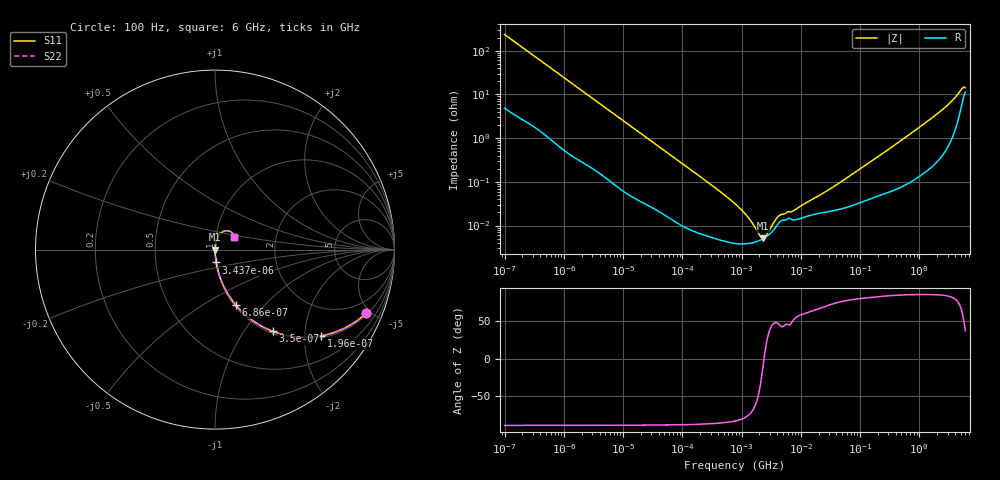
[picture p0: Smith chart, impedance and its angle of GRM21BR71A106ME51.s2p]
!Murata Part Number: GRM21BR71A106ME51
!These Parameters are Measured in Series Mode Connection
!Data Generated on Mar 30, 2021
!  o--ll--o
!Port1  Port2
!  o------o
!Operation Temp=25[degC], DC Bias Voltage=0[V]
!Freq. Start=100[Hz] Stop=6[GHz] 401[Steps]
# Hz S RI R 50
!Freq.(Hz) S11(Real) S11(Imag) S21(Real) S21(Imag) S12(Real) S12(Imag) S22(Real) S22(Imag)
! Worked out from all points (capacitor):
!   401 points, 100 Hz to 6 GHz, reference 50 ohm
!   read as one part in series: C = 6.74 uF near 109 Hz
!   lowest |Z| = 5.06 mohm at 2.269 MHz (marker M1)
!   series resonance near 2.391 MHz, so ESL is about 660 pH
!   S11 on the Smith chart (normalised r, x): 100 Hz: 1.10, -4.71; 196 Hz: 1.05, -2.42; 350 Hz: 1.03, -1.37; 686 Hz: 1.02, -0.71; 3.437 kHz: 1.00, -0.14; 6 GHz: 1.22, +0.17
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100  0.842 -0.3545  0.158 0.3545  0.158 0.3545  0.842 -0.3545
196  0.5929 -0.4803  0.4071 0.4803  0.4071 0.4803  0.5929 -0.4803
350  0.3225 -0.4556  0.6775 0.4556  0.6775 0.4556  0.3225 -0.4556
686  0.1163 -0.3096  0.8837 0.3096  0.8837 0.3096  0.1163 -0.3096
2008  0.0174 -0.1197  0.9826 0.1197  0.9826 0.1197  0.0174 -0.1197
3437  0.00693 -0.0714  0.9931 0.0714  0.9931 0.0714  0.00693 -0.0714
40335  0.000249 -0.00637  0.9998 0.00637  0.9998 0.00637  0.000249 -0.00637
345986  5.16e-05 -0.000756  0.9999 0.000756  0.9999 0.000756  5.16e-05 -0.000756
774597  3.9e-05 -0.000313  1 0.000313  1 0.000313  3.9e-05 -0.000313
1108252  3.81e-05 -0.000192  1 0.000192  1 0.000192  3.81e-05 -0.000192
1585629  4.08e-05 -9.58e-05  1 9.58e-05  1 9.58e-05  4.08e-05 -9.58e-05
2268635  4.92e-05 -1.19e-05  1 1.19e-05  1 1.19e-05  4.92e-05 -1.19e-05
3103719  6.68e-05 5.93e-05  0.9999 -5.93e-05  0.9999 -5.93e-05  6.68e-05 5.93e-05
4440638  0.000123 0.000122  0.9999 -0.000122  0.9999 -0.000122  0.000123 0.000122
7599586  0.000134 0.000173  0.9999 -0.000173  0.9999 -0.000173  0.000134 0.000173
1.555665e7  0.000175 0.000355  0.9998 -0.000355  0.9998 -0.000355  0.000175 0.000355
3.983537e7  0.000226 0.000822  0.9998 -0.000822  0.9998 -0.000822  0.000226 0.000822
3.124326e8  0.000615 0.00567  0.9994 -0.00567  0.9994 -0.00567  0.000615 0.00567
1.565993e9  0.00285 0.0275  0.9971 -0.0275  0.9971 -0.0275  0.00285 0.0275
3.352442e9  0.0122 0.0636  0.9878 -0.0636  0.9878 -0.0636  0.0122 0.0636
5.245841e9  0.0697 0.1054  0.9303 -0.1054  0.9303 -0.1054  0.0697 0.1054
6e9  0.1064 0.0691  0.8936 -0.0691  0.8936 -0.0691  0.1064 0.0691
